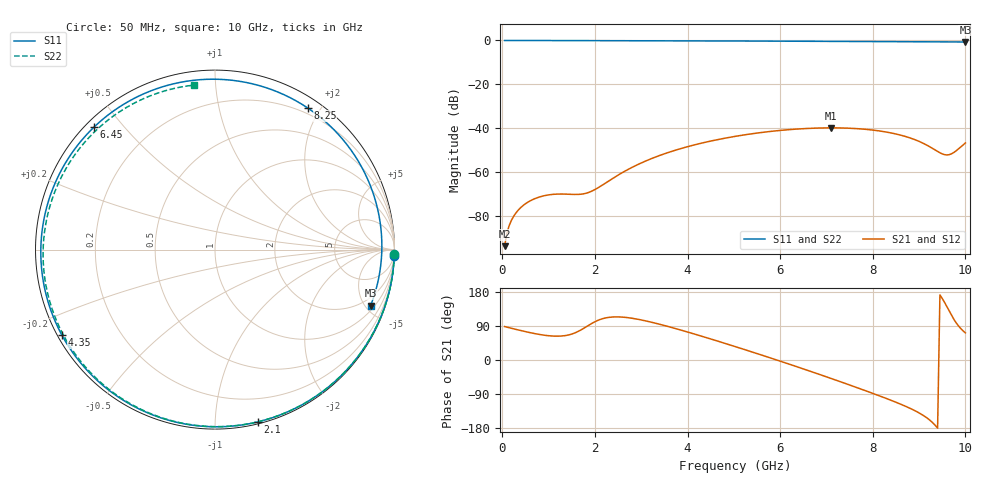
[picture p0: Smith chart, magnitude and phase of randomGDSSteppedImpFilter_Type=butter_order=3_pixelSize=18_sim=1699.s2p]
! freq	dB(S11)	phase(S11)	dB(S12)	phase(S12)
!  dB(S21)	phase(S21)	dB(S22)	phase(S22)
!S-par simulation data
#  GHz  S  DB  R 50
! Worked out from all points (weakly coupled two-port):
!   200 points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, 50 MHz to 10 GHz, reference 50 ohm
!   highest |S21| = -39.85 dB at 7.1 GHz (marker M1); lowest = -93.8 dB at 50 MHz (marker M2)
!   lowest |S11| = -0.7 dB at 10 GHz (marker M3), VSWR 24.40, Z = 65.7 - j271 ohm
!   |S11| at or under -10 dB: nowhere
!   |S22| runs from -0.7 to 0.0 dB; largest |S21 - S12| = 0
!   S11 on the Smith chart (normalised r, x): 50 MHz: 1, -60; 2.1 GHz: 0.01, -1.28; 4.35 GHz: 0.01, -0.26; 6.45 GHz: 0.02, +0.42; 8.25 GHz: 0.13, +1.84; 10 GHz: 1.31, -5.42
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0.05  -0.00 -1.9  -93.80 88.2  -93.80 88.2  -0.00 -1.4
0.25  -0.01 -9.4  -80.01 82.1  -80.01 82.1  -0.01 -6.7
0.5  -0.02 -18.7  -74.46 74.9  -74.46 74.9  -0.01 -13.3
0.85  -0.04 -31.6  -71.07 66.4  -71.07 66.4  -0.03 -22.5
1.3  -0.06 -48.0  -70.03 63.5  -70.03 63.5  -0.04 -34.2
1.75  -0.08 -64.0  -69.94 83.0  -69.94 83.0  -0.06 -45.7
2.1  -0.09 -76.1  -66.76 106.3  -66.76 106.3  -0.07 -54.6
2.75  -0.12 -98.2  -58.43 111.1  -58.43 111.1  -0.09 -70.7
3.4  -0.15 -119.7  -52.43 94.3  -52.43 94.3  -0.11 -86.4
4.35  -0.20 -150.8  -46.58 61.1  -46.58 61.1  -0.15 -108.8
5.05  -0.25 -174.3  -43.65 34.6  -43.65 34.6  -0.19 -125.1
5.75  -0.30 161.1  -41.57 7.1  -41.57 7.1  -0.24 -141.4
6.45  -0.36 134.5  -40.28 -21.4  -40.28 -21.4  -0.29 -158.2
6.7  -0.38 124.5  -40.02 -31.8  -40.02 -31.8  -0.32 -164.3
7.1  -0.42 107.9  -39.85 -48.7  -39.85 -48.7  -0.35 -174.3
7.7  -0.47 81.7  -40.27 -74.7  -40.27 -74.7  -0.42 169.9
8.25  -0.51 56.8  -41.61 -99.5  -41.61 -99.5  -0.48 154.4
8.35  -0.52 52.2  -41.98 -104.2  -41.98 -104.2  -0.49 151.5
8.95  -0.57 25.0  -45.58 -136.3  -45.58 -136.3  -0.56 133.1
9.55  -0.64 -1.3  -52.07 152.0  -52.07 152.0  -0.63 113.2
9.7  -0.66 -7.6  -51.69 118.1  -51.69 118.1  -0.65 107.9
10  -0.71 -19.8  -46.73 71.6  -46.73 71.6  -0.69 97.1
